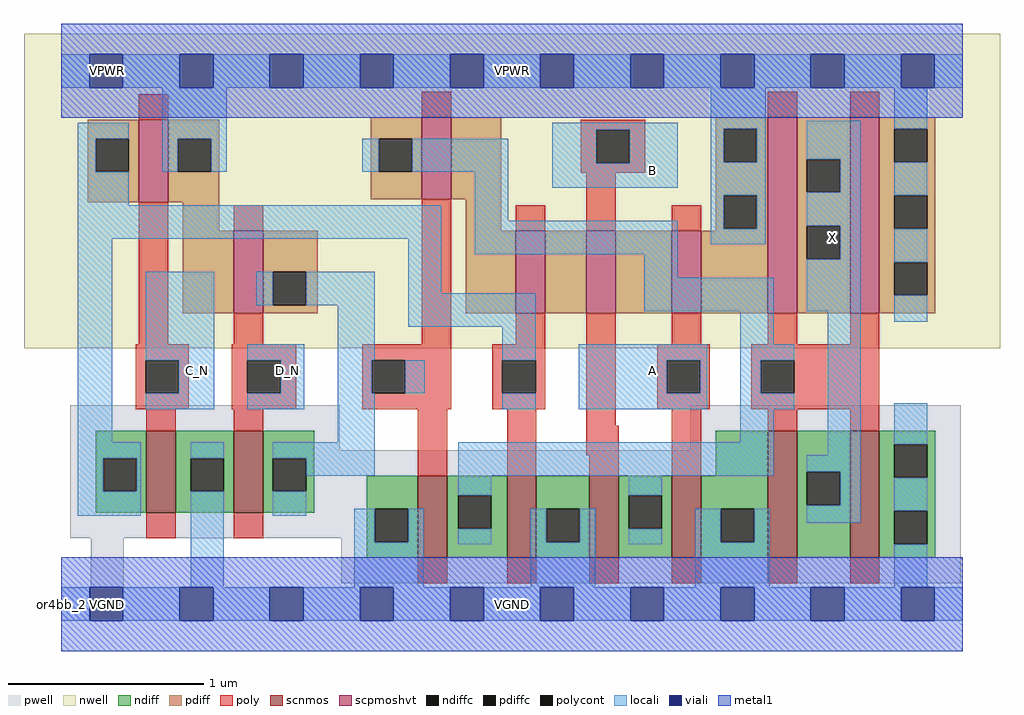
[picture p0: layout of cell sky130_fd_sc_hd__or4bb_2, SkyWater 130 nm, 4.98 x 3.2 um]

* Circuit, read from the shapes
.subckt sky130_fd_sc_hd__or4bb_2 A B C_N D_N VGND VNB VPB VPWR X
XM1 VGND C_N n1 VNB sky130_fd_pr__nfet_01v8 w=0.42 l=0.15
XM2 n2 D_N VGND VNB sky130_fd_pr__nfet_01v8 w=0.42 l=0.15
XM3 n3 n2 VGND VNB sky130_fd_pr__nfet_01v8 w=0.42 l=0.15
XM4 VGND n1 n3 VNB sky130_fd_pr__nfet_01v8 w=0.42 l=0.15
XM5 n3 B VGND VNB sky130_fd_pr__nfet_01v8 w=0.42 l=0.15
XM6 VGND A n3 VNB sky130_fd_pr__nfet_01v8 w=0.42 l=0.15
XM7 X n3 VGND VNB sky130_fd_pr__nfet_01v8 w=0.65 l=0.15 m=2
XM8 VPWR C_N n1 VPB sky130_fd_pr__pfet_01v8_hvt w=0.42 l=0.15
XM9 n2 D_N VPWR VPB sky130_fd_pr__pfet_01v8_hvt w=0.42 l=0.15
XM10 n4 n2 n3 VPB sky130_fd_pr__pfet_01v8_hvt w=0.42 l=0.15
XM11 n5 n1 n4 VPB sky130_fd_pr__pfet_01v8_hvt w=0.42 l=0.15
XM12 n6 B n5 VPB sky130_fd_pr__pfet_01v8_hvt w=0.42 l=0.15
XM13 VPWR A n6 VPB sky130_fd_pr__pfet_01v8_hvt w=0.42 l=0.15
XM14 X n3 VPWR VPB sky130_fd_pr__pfet_01v8_hvt w=1 l=0.15 m=2
.ends

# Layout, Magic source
magic
tech sky130B
magscale 1 2
<< nwell >>
rect -38 261 958 582
<< pwell >>
rect 9 157 284 203
rect 642 157 918 203
rect 9 67 918 157
rect 30 -17 64 67
rect 286 21 918 67
<< scnmos >>
rect 87 93 117 177
rect 176 93 206 177
rect 364 47 394 131
rect 455 47 485 131
rect 539 47 569 131
rect 623 47 653 131
rect 721 47 751 177
rect 805 47 835 177
<< scpmoshvt >>
rect 79 410 109 494
rect 368 413 398 497
rect 176 297 206 381
rect 464 297 494 381
rect 536 297 566 381
rect 623 297 653 381
rect 721 297 751 497
rect 805 297 835 497
<< ndiff >>
rect 35 149 87 177
rect 35 115 43 149
rect 77 115 87 149
rect 35 93 87 115
rect 117 149 176 177
rect 117 115 132 149
rect 166 115 176 149
rect 117 93 176 115
rect 206 149 258 177
rect 206 115 216 149
rect 250 115 258 149
rect 668 131 721 177
rect 206 93 258 115
rect 312 97 364 131
rect 312 63 320 97
rect 354 63 364 97
rect 312 47 364 63
rect 394 111 455 131
rect 394 77 405 111
rect 439 77 455 111
rect 394 47 455 77
rect 485 97 539 131
rect 485 63 495 97
rect 529 63 539 97
rect 485 47 539 63
rect 569 111 623 131
rect 569 77 579 111
rect 613 77 623 111
rect 569 47 623 77
rect 653 97 721 131
rect 653 63 673 97
rect 707 63 721 97
rect 653 47 721 63
rect 751 135 805 177
rect 751 101 761 135
rect 795 101 805 135
rect 751 47 805 101
rect 835 163 892 177
rect 835 129 850 163
rect 884 129 892 163
rect 835 95 892 129
rect 835 61 850 95
rect 884 61 892 95
rect 835 47 892 61
<< pdiff >>
rect 27 475 79 494
rect 27 441 35 475
rect 69 441 79 475
rect 27 410 79 441
rect 109 475 161 494
rect 109 441 119 475
rect 153 441 161 475
rect 109 410 161 441
rect 316 475 368 497
rect 316 441 324 475
rect 358 441 368 475
rect 316 413 368 441
rect 398 413 449 497
rect 668 485 721 497
rect 668 451 676 485
rect 710 451 721 485
rect 124 381 161 410
rect 124 297 176 381
rect 206 339 262 381
rect 206 305 216 339
rect 250 305 262 339
rect 206 297 262 305
rect 413 381 449 413
rect 668 417 721 451
rect 668 383 676 417
rect 710 383 721 417
rect 668 381 721 383
rect 413 297 464 381
rect 494 297 536 381
rect 566 297 623 381
rect 653 297 721 381
rect 751 454 805 497
rect 751 420 761 454
rect 795 420 805 454
rect 751 386 805 420
rect 751 352 761 386
rect 795 352 805 386
rect 751 297 805 352
rect 835 485 892 497
rect 835 451 850 485
rect 884 451 892 485
rect 835 417 892 451
rect 835 383 850 417
rect 884 383 892 417
rect 835 349 892 383
rect 835 315 850 349
rect 884 315 892 349
rect 835 297 892 315
<< ndiffc >>
rect 43 115 77 149
rect 132 115 166 149
rect 216 115 250 149
rect 320 63 354 97
rect 405 77 439 111
rect 495 63 529 97
rect 579 77 613 111
rect 673 63 707 97
rect 761 101 795 135
rect 850 129 884 163
rect 850 61 884 95
<< pdiffc >>
rect 35 441 69 475
rect 119 441 153 475
rect 324 441 358 475
rect 676 451 710 485
rect 216 305 250 339
rect 676 383 710 417
rect 761 420 795 454
rect 761 352 795 386
rect 850 451 884 485
rect 850 383 884 417
rect 850 315 884 349
<< poly >>
rect 79 494 109 520
rect 368 497 398 523
rect 721 497 751 523
rect 805 497 835 523
rect 530 484 596 494
rect 530 450 546 484
rect 580 450 596 484
rect 530 440 596 450
rect 79 265 109 410
rect 176 381 206 407
rect 176 265 206 297
rect 368 265 398 413
rect 464 381 494 407
rect 536 381 566 440
rect 623 381 653 407
rect 464 265 494 297
rect 76 249 130 265
rect 76 215 86 249
rect 120 215 130 249
rect 76 199 130 215
rect 174 249 240 265
rect 174 215 190 249
rect 224 215 240 249
rect 174 199 240 215
rect 307 249 398 265
rect 307 215 317 249
rect 351 215 398 249
rect 307 199 398 215
rect 440 249 494 265
rect 440 215 450 249
rect 484 215 494 249
rect 440 199 494 215
rect 87 177 117 199
rect 176 177 206 199
rect 364 131 394 199
rect 455 131 485 199
rect 536 182 566 297
rect 623 265 653 297
rect 721 265 751 297
rect 805 265 835 297
rect 608 249 662 265
rect 608 215 618 249
rect 652 215 662 249
rect 608 199 662 215
rect 704 249 835 265
rect 704 215 714 249
rect 748 215 835 249
rect 704 199 835 215
rect 536 152 569 182
rect 539 131 569 152
rect 623 131 653 199
rect 721 177 751 199
rect 805 177 835 199
rect 87 67 117 93
rect 176 67 206 93
rect 364 21 394 47
rect 455 21 485 47
rect 539 21 569 47
rect 623 21 653 47
rect 721 21 751 47
rect 805 21 835 47
<< polycont >>
rect 546 450 580 484
rect 86 215 120 249
rect 190 215 224 249
rect 317 215 351 249
rect 450 215 484 249
rect 618 215 652 249
rect 714 215 748 249
<< locali >>
rect 0 527 29 561
rect 63 527 121 561
rect 155 527 213 561
rect 247 527 305 561
rect 339 527 397 561
rect 431 527 489 561
rect 523 527 581 561
rect 615 527 673 561
rect 707 527 765 561
rect 799 527 857 561
rect 891 527 920 561
rect 17 475 69 491
rect 17 441 35 475
rect 103 475 169 527
rect 501 484 629 491
rect 103 441 119 475
rect 153 441 169 475
rect 307 441 324 475
rect 358 441 456 475
rect 17 407 69 441
rect 17 373 388 407
rect 17 165 52 373
rect 86 249 156 339
rect 199 305 216 339
rect 250 305 320 339
rect 120 215 156 249
rect 86 199 156 215
rect 190 249 248 265
rect 224 215 248 249
rect 190 199 248 215
rect 282 249 320 305
rect 354 317 388 373
rect 422 391 456 441
rect 501 450 546 484
rect 580 450 629 484
rect 501 425 629 450
rect 663 485 719 527
rect 663 451 676 485
rect 710 451 719 485
rect 663 417 719 451
rect 422 357 629 391
rect 663 383 676 417
rect 710 383 719 417
rect 663 367 719 383
rect 761 454 816 493
rect 795 420 816 454
rect 761 386 816 420
rect 595 333 629 357
rect 795 352 816 386
rect 354 283 484 317
rect 595 299 727 333
rect 761 299 816 352
rect 450 249 484 283
rect 693 265 727 299
rect 282 215 317 249
rect 351 215 371 249
rect 282 165 320 215
rect 450 199 484 215
rect 528 249 659 265
rect 528 215 618 249
rect 652 215 659 249
rect 528 199 659 215
rect 693 249 748 265
rect 693 215 714 249
rect 693 199 748 215
rect 693 165 727 199
rect 17 149 81 165
rect 17 115 43 149
rect 77 115 81 149
rect 17 90 81 115
rect 132 149 166 165
rect 132 17 166 115
rect 216 149 320 165
rect 250 131 320 149
rect 405 131 727 165
rect 782 152 816 299
rect 850 485 884 527
rect 850 417 884 451
rect 850 349 884 383
rect 850 288 884 315
rect 761 135 816 152
rect 216 90 250 115
rect 405 111 439 131
rect 299 63 320 97
rect 354 63 370 97
rect 299 17 370 63
rect 579 111 613 131
rect 405 61 439 77
rect 479 63 495 97
rect 529 63 545 97
rect 479 17 545 63
rect 795 101 816 135
rect 579 61 613 77
rect 647 63 673 97
rect 707 63 723 97
rect 761 83 816 101
rect 850 163 884 205
rect 850 95 884 129
rect 647 17 723 63
rect 850 17 884 61
rect 0 -17 29 17
rect 63 -17 121 17
rect 155 -17 213 17
rect 247 -17 305 17
rect 339 -17 397 17
rect 431 -17 489 17
rect 523 -17 581 17
rect 615 -17 673 17
rect 707 -17 765 17
rect 799 -17 857 17
rect 891 -17 920 17
<< viali >>
rect 29 527 63 561
rect 121 527 155 561
rect 213 527 247 561
rect 305 527 339 561
rect 397 527 431 561
rect 489 527 523 561
rect 581 527 615 561
rect 673 527 707 561
rect 765 527 799 561
rect 857 527 891 561
rect 29 -17 63 17
rect 121 -17 155 17
rect 213 -17 247 17
rect 305 -17 339 17
rect 397 -17 431 17
rect 489 -17 523 17
rect 581 -17 615 17
rect 673 -17 707 17
rect 765 -17 799 17
rect 857 -17 891 17
<< metal1 >>
rect 0 561 920 592
rect 0 527 29 561
rect 63 527 121 561
rect 155 527 213 561
rect 247 527 305 561
rect 339 527 397 561
rect 431 527 489 561
rect 523 527 581 561
rect 615 527 673 561
rect 707 527 765 561
rect 799 527 857 561
rect 891 527 920 561
rect 0 496 920 527
rect 0 17 920 48
rect 0 -17 29 17
rect 63 -17 121 17
rect 155 -17 213 17
rect 247 -17 305 17
rect 339 -17 397 17
rect 431 -17 489 17
rect 523 -17 581 17
rect 615 -17 673 17
rect 707 -17 765 17
rect 799 -17 857 17
rect 891 -17 920 17
rect 0 -48 920 -17
<< labels >>
flabel locali s 586 221 620 255 0 FreeSans 400 0 0 0 A
port 1 nsew signal input
flabel locali s 770 357 804 391 0 FreeSans 400 0 0 0 X
port 9 nsew signal output
flabel locali s 586 425 620 459 0 FreeSans 400 0 0 0 B
port 2 nsew signal input
flabel locali s 214 221 248 255 0 FreeSans 400 0 0 0 D_N
port 4 nsew signal input
flabel locali s 122 221 156 255 0 FreeSans 400 0 0 0 C_N
port 3 nsew signal input
flabel metal1 s 30 527 64 561 0 FreeSans 200 0 0 0 VPWR
port 8 nsew power bidirectional abutment
flabel metal1 s 30 -17 64 17 0 FreeSans 200 0 0 0 VGND
port 5 nsew ground bidirectional abutment
flabel nwell s 30 527 64 561 0 FreeSans 200 0 0 0 VPB
port 7 nsew power bidirectional
flabel pwell s 30 -17 64 17 0 FreeSans 200 0 0 0 VNB
port 6 nsew ground bidirectional
rlabel comment s 0 0 0 0 4 or4bb_2
rlabel metal1 s 0 -48 920 48 1 VGND
port 5 nsew ground bidirectional abutment
rlabel metal1 s 0 496 920 592 1 VPWR
port 8 nsew power bidirectional abutment
<< properties >>
string FIXED_BBOX 0 0 920 544
string GDS_END 1105288
string GDS_FILE $PDKPATH/libs.ref/sky130_fd_sc_hd/gds/sky130_fd_sc_hd.gds
string GDS_START 1097680
string LEFclass CORE
string LEFsite unithd
string LEFsymmetry X Y R90
string path 0.000 0.000 4.600 0.000 
<< end >>
